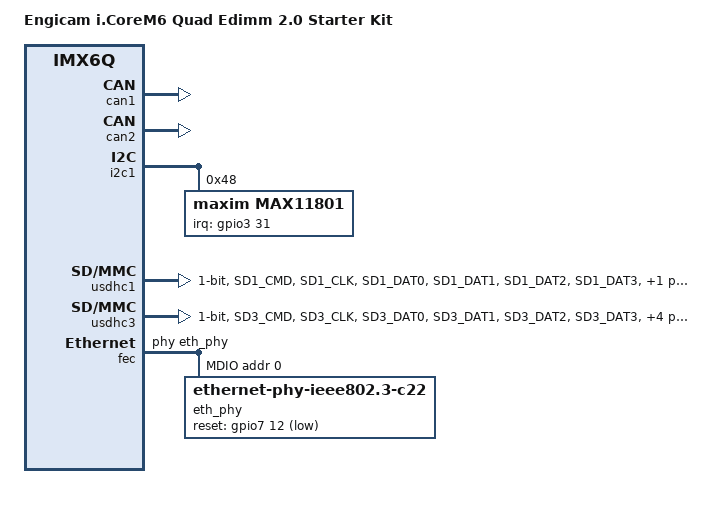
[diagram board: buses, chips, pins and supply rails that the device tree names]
// SPDX-License-Identifier: GPL-2.0 OR X11
/*
 * Copyright (C) 2016 Amarula Solutions B.V.
 * Copyright (C) 2016 Engicam S.r.l.
 */

/dts-v1/;

#include "imx6q.dtsi"
#include "imx6qdl-icore.dtsi"

/ {
	model = "Engicam i.CoreM6 Quad Edimm 2.0 Starter Kit";
	compatible = "engicam,imx6-icore", "fsl,imx6q";
};

&can1 {
	status = "okay";
};

&can2 {
	status = "okay";
};

&i2c1 {
	max11801: touchscreen@48 {
		compatible = "maxim,max11801";
		reg = <0x48>;
		interrupt-parent = <&gpio3>;
		interrupts = <31 IRQ_TYPE_EDGE_FALLING>;
	};
};

&usdhc1 {
	pinctrl-names = "default";
	pinctrl-0 = <&pinctrl_usdhc1>, <&pinctrl_usdhc1_gpio>;
	cd-gpio = <&gpio1 1 GPIO_ACTIVE_LOW>;
	max-frequency = <50000000>;
	bus-width = <1>;
};

&usdhc3 {
	pinctrl-names = "default";
	pinctrl-0 = <&pinctrl_usdhc3>;
	no-1-8-v;
	bus-width = <1>;
	status = "okay";
};

&fec {
	phy-handle = <&eth_phy>;

	mdio {
		#address-cells = <1>;
		#size-cells = <0>;

		eth_phy: ethernet-phy@0 {
			compatible = "ethernet-phy-ieee802.3-c22";
			reg = <0>;
			reset-gpios = <&gpio7 12 GPIO_ACTIVE_LOW>;
			reset-assert-us = <4000>;
			reset-deassert-us = <4000>;
		};
	};
};

&iomuxc {
	pinctrl_usdhc1: usdhc1grp {
		fsl,pins = <
			MX6QDL_PAD_SD1_CMD__SD1_CMD    0x17070
			MX6QDL_PAD_SD1_CLK__SD1_CLK    0x10070
			MX6QDL_PAD_SD1_DAT0__SD1_DATA0 0x17070
			MX6QDL_PAD_SD1_DAT1__SD1_DATA1 0x17070
			MX6QDL_PAD_SD1_DAT2__SD1_DATA2 0x17070
			MX6QDL_PAD_SD1_DAT3__SD1_DATA3 0x17070
		>;
	};

	pinctrl_usdhc1_gpio: usdhc1gpiogrp {
		fsl,pins = <
			MX6QDL_PAD_GPIO_1__GPIO1_IO01  0x1b0b0
		>;
	};

	pinctrl_usdhc3: usdhc3grp {
		fsl,pins = <
			MX6QDL_PAD_SD3_CMD__SD3_CMD    0x17059
			MX6QDL_PAD_SD3_CLK__SD3_CLK    0x10059
			MX6QDL_PAD_SD3_DAT0__SD3_DATA0 0x17059
			MX6QDL_PAD_SD3_DAT1__SD3_DATA1 0x17059
			MX6QDL_PAD_SD3_DAT2__SD3_DATA2 0x17059
			MX6QDL_PAD_SD3_DAT3__SD3_DATA3 0x17059
			MX6QDL_PAD_SD3_DAT4__SD3_DATA4 0x17059
			MX6QDL_PAD_SD3_DAT5__SD3_DATA5 0x17059
			MX6QDL_PAD_SD3_DAT6__SD3_DATA6 0x17059
			MX6QDL_PAD_SD3_DAT7__SD3_DATA7 0x17059
		>;
	};
};
